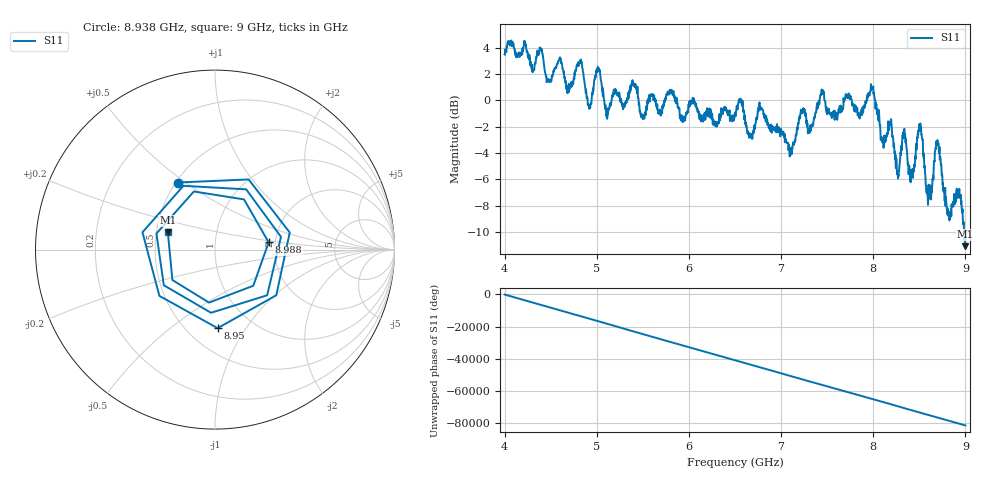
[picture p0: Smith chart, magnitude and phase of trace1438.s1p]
! Created with skrf 1.8.0 (http://scikit-rf.org).
# Hz S RI R 50.0
!freq ReS11 ImS11
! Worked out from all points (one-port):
!   1601 points, 4 GHz to 9 GHz, reference 50 ohm
!   lowest |S11| = -11.1 dB at 9 GHz (marker M1), VSWR 1.78, Z = 28.7 + j5.94 ohm
!   |S11| at or under -10 dB: 8.985236 GHz to end of sweep
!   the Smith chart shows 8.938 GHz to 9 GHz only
!   S11 on the Smith chart (normalised r, x): 8.938 GHz: 0.51, +0.47; 8.95 GHz: 0.69, -0.75; 8.988 GHz: 1.84, +0.16; 9 GHz: 0.57, +0.12
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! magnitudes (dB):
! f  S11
! 4 GHz  3.5
! 4.625 GHz  2.6
! 4.694 GHz  0.6
! 4.822 GHz  3.1
! 4.916 GHz  -0.5
! 5.012 GHz  2.5
! 5.109 GHz  -1.3
! 5.25 GHz  0.3
! 5.875 GHz  -0.2
! 6.5 GHz  -0.9
! 7.125 GHz  -3.5
! 7.444 GHz  0.5
! 7.75 GHz  0.2
! 7.988 GHz  0.8
! 8.103 GHz  -3.2
! 8.188 GHz  -1.8
! 8.262 GHz  -5.6
! 8.331 GHz  -2.9
! 8.375 GHz  -4.9
! 8.425 GHz  -5.7
! 8.509 GHz  -1.9
! 8.594 GHz  -7.9
! 8.694 GHz  -3.2
! 8.816 GHz  -8.7
! 8.938 GHz  -7.4
! 8.95 GHz  -7.2
! 8.988 GHz  -10.4
! 9 GHz  -11.1
